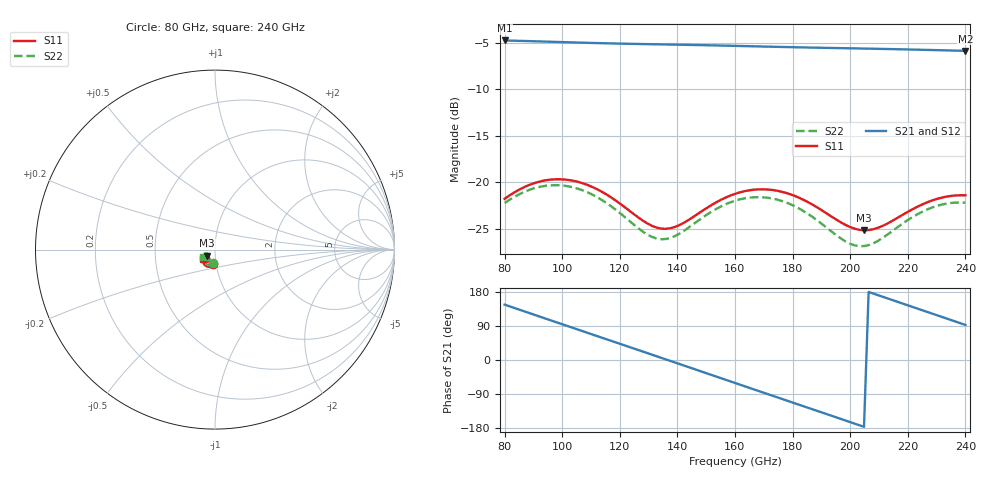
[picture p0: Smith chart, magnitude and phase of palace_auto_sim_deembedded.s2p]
! Created with skrf 1.11.0 (http://scikit-rf.org).
# GHz S DB R 50.0
!freq dBS11 angS11 dBS21 angS21 dBS12 angS12 dBS22 angS22
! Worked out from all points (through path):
!   101 points, 80 GHz to 240 GHz, reference 50 ohm
!   highest |S21| = -4.77 dB at 80 GHz (marker M1); lowest = -5.9 dB at 240 GHz (marker M2)
!   group delay of S21, straight-line fit = 7.18 ps
!   lowest |S11| = -25.2 dB at 204.8 GHz (marker M3), VSWR 1.12, Z = 45.8 - j3.18 ohm
!   |S11| at or under -10 dB: start of sweep to end of sweep
!   |S22| runs from -26.9 to -20.3 dB; largest |S21 - S12| = 6.2e-14
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80  -21.77 -96.4  -4.77 146.1  -4.77 146.1  -22.22 -98.3
88  -20.35 -103.1  -4.84 125.4  -4.84 125.4  -20.88 -105.4
94.4  -19.78 -111.6  -4.90 108.8  -4.90 108.8  -20.37 -114.3
100.8  -19.70 -121.0  -4.95 92.3  -4.95 92.3  -20.37 -123.9
107.2  -20.11 -129.9  -5.01 75.8  -5.01 75.8  -20.87 -133.2
113.6  -20.99 -137.4  -5.06 59.3  -5.06 59.3  -21.86 -140.9
121.6  -22.64 -142.3  -5.12 38.7  -5.12 38.7  -23.70 -145.7
128  -24.11 -140.1  -5.16 22.2  -5.16 22.2  -25.30 -142.6
134.4  -24.97 -131.8  -5.19 5.7  -5.19 5.7  -26.11 -132.8
140.8  -24.58 -122.4  -5.23 -10.8  -5.23 -10.8  -25.50 -123.0
147.2  -23.37 -118.2  -5.27 -27.4  -5.27 -27.4  -24.12 -119.7
160  -21.24 -125.0  -5.35 -60.6  -5.35 -60.6  -21.98 -128.7
166.4  -20.80 -131.9  -5.40 -77.1  -5.40 -77.1  -21.61 -136.6
172.8  -20.82 -139.4  -5.44 -93.7  -5.44 -93.7  -21.73 -144.8
179.2  -21.28 -146.2  -5.49 -110.2  -5.49 -110.2  -22.35 -152.2
187.2  -22.45 -152.0  -5.54 -130.8  -5.54 -130.8  -23.78 -158.3
196.8  -24.31 -150.8  -5.60 -155.6  -5.60 -155.6  -26.04 -155.4
204.8  -25.15 -141.2  -5.64 -176.3  -5.64 -176.3  -26.85 -142.3
214.4  -24.18 -130.4  -5.70 158.8  -5.70 158.8  -25.29 -130.5
227.2  -22.09 -132.4  -5.79 125.7  -5.79 125.7  -22.85 -135.2
233.6  -21.53 -137.7  -5.84 109.1  -5.84 109.1  -22.28 -141.8
240  -21.40 -144.0  -5.89 92.6  -5.89 92.6  -22.19 -149.2
